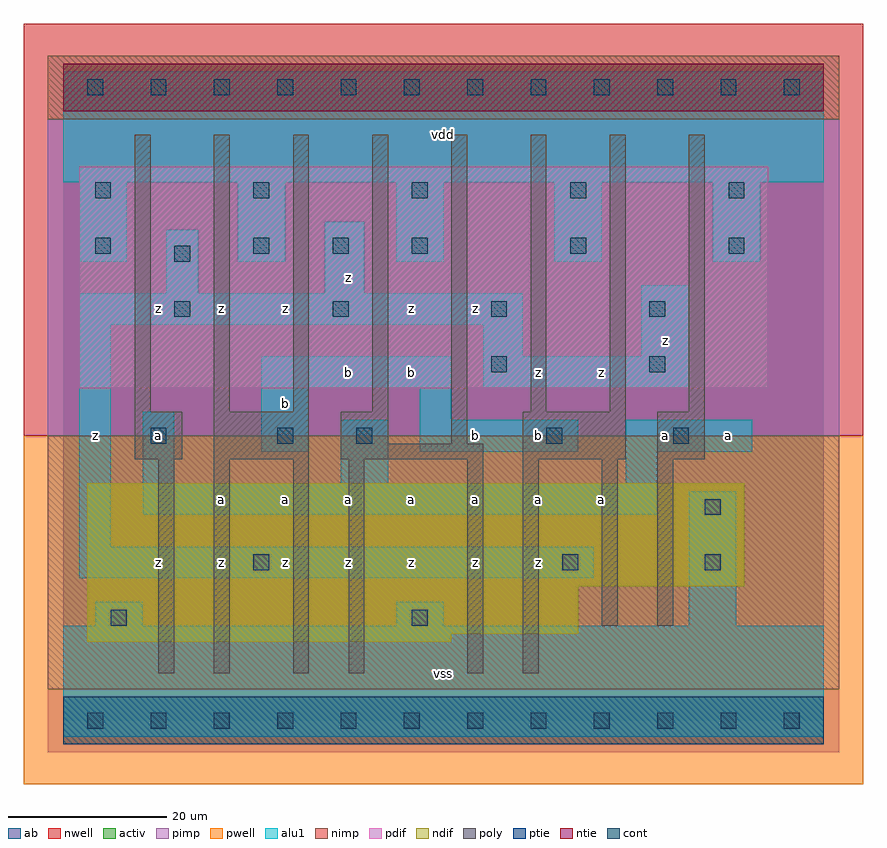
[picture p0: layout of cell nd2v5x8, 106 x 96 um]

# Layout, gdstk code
import gdstk
lib = gdstk.Library(unit=1e-6, precision=1e-09)
def R(c, l, rs):  # rectangles x0, y0, x1, y1
    for r in rs: c.add(gdstk.rectangle(r[:2], r[2:], *l))
def A(c, l, x, y, w, h, nx, ny, dx, dy):  # array of equal rectangles
    R(c, l, [(x+i*dx, y+j*dy, x+i*dx+w, y+j*dy+h) for i in range(nx) for j in range(ny)])
ndif = (3, 0)
pdif = (4, 0)
ntie = (5, 0)
ptie = (6, 0)
cont = (25, 0)
pwell = (41, 0)
nwell = (42, 0)
activ = (43, 0)
pimp = (44, 0)
nimp = (45, 0)
poly = (46, 0)
alu1 = (49, 0)
ab = (63, 0)

nd2v5x8 = lib.new_cell('nd2v5x8')
R(nd2v5x8, ndif, [(3,10,49,11), (3,11,65,17), (3,17,86,30)])
R(nd2v5x8, pdif, [(2,42,89,70)])
R(nd2v5x8, ntie, [(0,77,96,83)])
R(nd2v5x8, ptie, [(0,-3,96,3)])
A(nd2v5x8, cont, 3, -1, 2, 2, 12, 2, 8, 80)
A(nd2v5x8, cont, 14, 51, 2, 2, 4, 1, 20, 0)
A(nd2v5x8, cont, 24, 59, 2, 2, 3, 1, 10, 0)
A(nd2v5x8, cont, 4, 66, 2, 2, 5, 1, 20, 0)
R(nd2v5x8, cont, [(6,12,8,14), (44,12,46,14), (24,19,26,21), (63,19,65,21), (81,19,83,21), (81,26,83,28), (11,35,13,37), (27,35,29,37), (37,35,39,37), (61,35,63,37), (77,35,79,37), (54,44,56,46), (74,44,76,46), (14,58,16,60), (4,59,6,61), (64,59,66,61), (84,59,86,61)])
R(nd2v5x8, pwell, [(-5,-8,101,36)])
R(nd2v5x8, nwell, [(-5,36,101,88)])
R(nd2v5x8, activ, [(0,-3,96,3), (3,10,49,11), (3,11,65,17), (3,17,86,30), (2,42,89,70), (0,77,96,83)])
R(nd2v5x8, pimp, [(-2,-4,98,4), (-2,36,98,76)])
R(nd2v5x8, nimp, [(-2,4,98,36), (-2,76,98,84)])
A(nd2v5x8, poly, 9, 39, 2, 35, 4, 1, 10, 0)
A(nd2v5x8, poly, 59, 39, 2, 35, 3, 1, 10, 0)
R(nd2v5x8, poly, [(12,6,14,33), (19,6,21,33), (29,6,31,33), (36,6,38,33), (51,6,53,33), (58,6,60,33), (68,12,70,33), (75,12,77,33), (9,33,15,39), (19,33,31,39), (35,33,53,35), (58,33,71,39), (75,33,81,39), (35,35,41,39), (49,35,51,74)])
A(nd2v5x8, alu1, 2, 58, 6, 10, 5, 1, 20, 0)
R(nd2v5x8, alu1, [(0,-2,96,12), (4,12,10,15), (42,12,48,15), (79,12,85,29), (2,18,67,22), (2,22,6,50), (10,26,75,30), (10,30,14,39), (35,30,41,38), (71,30,75,34), (25,34,31,42), (45,34,65,38), (71,34,87,38), (45,38,49,42), (25,42,49,46), (53,42,79,46), (53,46,58,50), (73,46,79,55), (2,50,58,54), (13,54,17,62), (33,54,38,63), (0,68,96,82)])
R(nd2v5x8, ab, [(0,0,96,80)])
nd2v5x8.add(gdstk.Label('z', (12,20), layer=49, texttype=0))
nd2v5x8.add(gdstk.Label('a', (12,36), layer=49, texttype=0))
nd2v5x8.add(gdstk.Label('z', (4,36), layer=49, texttype=0))
nd2v5x8.add(gdstk.Label('z', (12,52), layer=49, texttype=0))
nd2v5x8.add(gdstk.Label('a', (20,28), layer=49, texttype=0))
nd2v5x8.add(gdstk.Label('z', (20,20), layer=49, texttype=0))
nd2v5x8.add(gdstk.Label('a', (28,28), layer=49, texttype=0))
nd2v5x8.add(gdstk.Label('z', (28,20), layer=49, texttype=0))
nd2v5x8.add(gdstk.Label('b', (28,40), layer=49, texttype=0))
nd2v5x8.add(gdstk.Label('z', (28,52), layer=49, texttype=0))
nd2v5x8.add(gdstk.Label('z', (20,52), layer=49, texttype=0))
nd2v5x8.add(gdstk.Label('vss', (48,6), layer=49, texttype=0))
nd2v5x8.add(gdstk.Label('a', (36,28), layer=49, texttype=0))
nd2v5x8.add(gdstk.Label('z', (36,20), layer=49, texttype=0))
nd2v5x8.add(gdstk.Label('a', (52,28), layer=49, texttype=0))
nd2v5x8.add(gdstk.Label('z', (52,20), layer=49, texttype=0))
nd2v5x8.add(gdstk.Label('a', (44,28), layer=49, texttype=0))
nd2v5x8.add(gdstk.Label('z', (44,20), layer=49, texttype=0))
nd2v5x8.add(gdstk.Label('b', (36,44), layer=49, texttype=0))
nd2v5x8.add(gdstk.Label('b', (52,36), layer=49, texttype=0))
nd2v5x8.add(gdstk.Label('b', (44,44), layer=49, texttype=0))
nd2v5x8.add(gdstk.Label('z', (52,52), layer=49, texttype=0))
nd2v5x8.add(gdstk.Label('z', (44,52), layer=49, texttype=0))
nd2v5x8.add(gdstk.Label('z', (36,56), layer=49, texttype=0))
nd2v5x8.add(gdstk.Label('vdd', (48,74), layer=49, texttype=0))
nd2v5x8.add(gdstk.Label('a', (60,28), layer=49, texttype=0))
nd2v5x8.add(gdstk.Label('z', (60,20), layer=49, texttype=0))
nd2v5x8.add(gdstk.Label('a', (68,28), layer=49, texttype=0))
nd2v5x8.add(gdstk.Label('z', (60,44), layer=49, texttype=0))
nd2v5x8.add(gdstk.Label('b', (60,36), layer=49, texttype=0))
nd2v5x8.add(gdstk.Label('a', (76,36), layer=49, texttype=0))
nd2v5x8.add(gdstk.Label('z', (68,44), layer=49, texttype=0))
nd2v5x8.add(gdstk.Label('z', (76,48), layer=49, texttype=0))
nd2v5x8.add(gdstk.Label('a', (84,36), layer=49, texttype=0))

lib.write_gds('nd2v5x8.gds')
